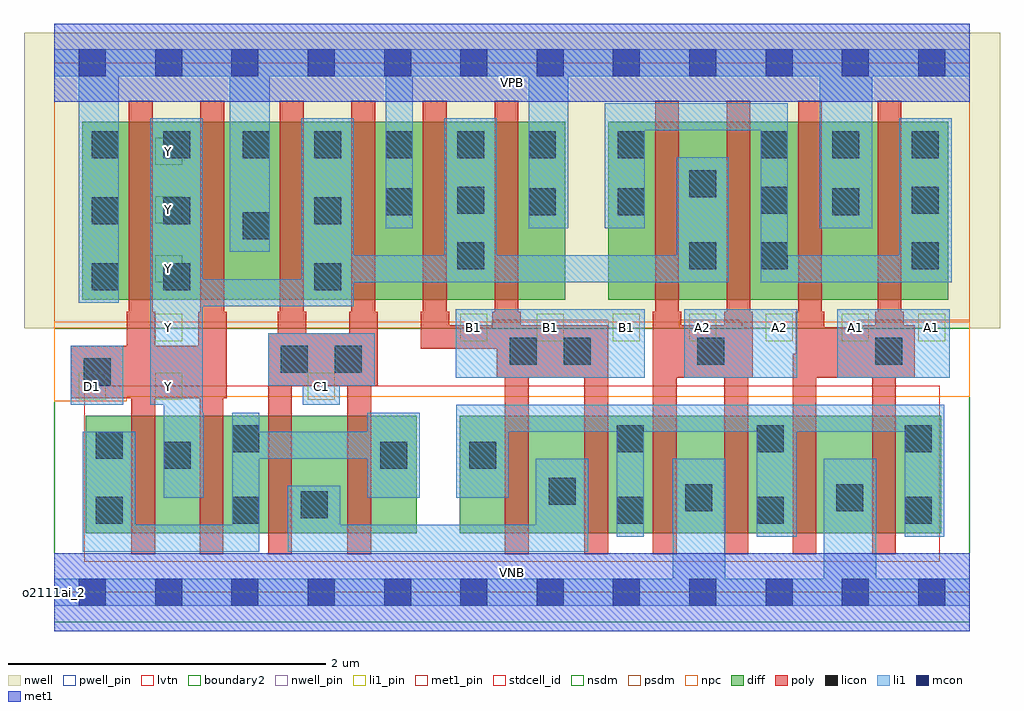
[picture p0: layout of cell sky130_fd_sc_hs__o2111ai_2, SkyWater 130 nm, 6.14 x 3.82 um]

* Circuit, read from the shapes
.subckt sky130_fd_sc_hs__o2111ai_2 A1 A2 B1 C1 D1 VGND VNB VPB VPWR Y
XM1 Y D1 n1 VNB sky130_fd_pr__nfet_01v8_lvt w=0.74 l=0.15 m=2
XM2 n2 C1 n1 VNB sky130_fd_pr__nfet_01v8_lvt w=0.74 l=0.15 m=2
XM3 n2 B1 n3 VNB sky130_fd_pr__nfet_01v8_lvt w=0.74 l=0.15 m=2
XM4 VGND A2 n3 VNB sky130_fd_pr__nfet_01v8_lvt w=0.74 l=0.15 m=2
XM5 VGND A1 n3 VNB sky130_fd_pr__nfet_01v8_lvt w=0.74 l=0.15 m=2
XM6 Y D1 VPWR VPB sky130_fd_pr__pfet_01v8 w=1.12 l=0.15 m=2
XM7 Y C1 VPWR VPB sky130_fd_pr__pfet_01v8 w=1.12 l=0.15 m=2
XM8 Y B1 VPWR VPB sky130_fd_pr__pfet_01v8 w=1.12 l=0.15 m=2
XM9 Y A2 n4 VPB sky130_fd_pr__pfet_01v8 w=1.12 l=0.15 m=2
XM10 VPWR A1 n4 VPB sky130_fd_pr__pfet_01v8 w=1.12 l=0.15 m=2
.ends

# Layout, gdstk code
import gdstk
lib = gdstk.Library(unit=1e-6, precision=1e-09)
def R(c, l, rs):  # rectangles x0, y0, x1, y1
    for r in rs: c.add(gdstk.rectangle(r[:2], r[2:], *l))
def A(c, l, x, y, w, h, nx, ny, dx, dy):  # array of equal rectangles
    R(c, l, [(x+i*dx, y+j*dy, x+i*dx+w, y+j*dy+h) for i in range(nx) for j in range(ny)])
def P(c, l, *ps):  # polygons
    for p in ps: c.add(gdstk.Polygon(p, *l))
nwell_pin = (64, 16)
nwell = (64, 20)
diff = (65, 20)
poly = (66, 20)
licon = (66, 44)
li1_pin = (67, 16)
li1 = (67, 20)
mcon = (67, 44)
met1_pin = (68, 16)
met1 = (68, 20)
stdcell_id = (81, 4)
nsdm = (93, 44)
psdm = (94, 20)
npc = (95, 20)
pwell_pin = (122, 16)
lvtn = (125, 44)
boundary2 = (236, 0)

sky130_fd_sc_hs__o2111ai = lib.new_cell('sky130_fd_sc_hs__o2111ai_2')
R(sky130_fd_sc_hs__o2111ai, nwell_pin, [(0,3.085,5.76,3.33)])
R(sky130_fd_sc_hs__o2111ai, nwell, [(-0.19,1.66,5.95,3.52)])
R(sky130_fd_sc_hs__o2111ai, diff, [(0.2,0.37,2.28,1.11), (2.55,0.37,5.58,1.11), (0.175,1.84,3.215,2.96), (3.485,1.84,5.625,2.96)])
P(sky130_fd_sc_hs__o2111ai, poly, [(5.415,1.68),(5.345,1.68),(5.345,1.765),(5.33,1.765),(5.33,3.09),(5.18,3.09),(5.18,1.765),(5.165,1.765),(5.165,1.68),(5.085,1.68),(5.085,1.665),(4.845,1.665),(4.845,1.765),(4.83,1.765),(4.83,3.09),(4.68,3.09),(4.68,1.765),(4.665,1.765),(4.665,1.5),(4.645,1.5),(4.645,0.24),(4.795,0.24),(4.795,1.35),(5.145,1.35),(5.145,0.24),(5.295,0.24),(5.295,1.35),(5.415,1.35)],
  [(4.395,1.765),(4.38,1.765),(4.38,3.09),(4.23,3.09),(4.23,1.765),(4.215,1.765),(4.215,1.68),(3.945,1.68),(3.945,1.765),(3.93,1.765),(3.93,3.09),(3.78,3.09),(3.78,1.765),(3.765,1.765),(3.765,0.24),(3.915,0.24),(3.915,1.35),(4.215,1.35),(4.215,0.24),(4.365,0.24),(4.365,1.35),(4.395,1.35)],
  [(3.485,1.68),(2.935,1.68),(2.935,1.765),(2.92,1.765),(2.92,3.09),(2.77,3.09),(2.77,1.765),(2.755,1.765),(2.755,1.68),(2.485,1.68),(2.485,1.765),(2.47,1.765),(2.47,3.09),(2.32,3.09),(2.32,1.765),(2.305,1.765),(2.305,1.53),(2.785,1.53),(2.785,1.35),(2.835,1.35),(2.835,0.24),(2.985,0.24),(2.985,1.35),(3.335,1.35),(3.335,0.24),(3.485,0.24)],
  [(2.035,1.765),(2.02,1.765),(2.02,3.09),(1.87,3.09),(1.87,1.765),(1.855,1.765),(1.855,1.63),(1.585,1.63),(1.585,1.765),(1.57,1.765),(1.57,3.09),(1.42,3.09),(1.42,1.765),(1.405,1.765),(1.405,1.63),(1.345,1.63),(1.345,0.24),(1.495,0.24),(1.495,1.3),(1.845,1.3),(1.845,0.24),(1.995,0.24),(1.995,1.3),(2.035,1.3)],
  [(1.085,1.765),(1.07,1.765),(1.07,3.09),(0.92,3.09),(0.92,1.765),(0.905,1.765),(0.905,1.55),(0.635,1.55),(0.635,1.765),(0.62,1.765),(0.62,3.09),(0.47,3.09),(0.47,1.765),(0.455,1.765),(0.455,1.55),(0.105,1.55),(0.105,1.22),(0.485,1.22),(0.485,0.24),(0.635,0.24),(0.635,1.22),(0.915,1.22),(0.915,0.24),(1.065,0.24),(1.065,1.22),(1.085,1.22)])
A(sky130_fd_sc_hs__o2111ai, licon, 0.235, 1.9, 0.17, 0.17, 1, 3, 0, 0.415)
A(sky130_fd_sc_hs__o2111ai, licon, 0.685, 1.9, 0.17, 0.17, 1, 3, 0, 0.415)
A(sky130_fd_sc_hs__o2111ai, licon, 4.445, 2.03, 0.17, 0.17, 1, 3, 0, 0.35)
A(sky130_fd_sc_hs__o2111ai, licon, 5.395, 2.03, 0.17, 0.17, 1, 3, 0, 0.35)
A(sky130_fd_sc_hs__o2111ai, licon, 1.185, 2.73, 0.17, 0.17, 5, 1, 0.45, 0)
R(sky130_fd_sc_hs__o2111ai, licon, [(0.26,0.43,0.43,0.6), (1.12,0.43,1.29,0.6), (3.54,0.43,3.71,0.6), (4.42,0.43,4.59,0.6), (5.35,0.43,5.52,0.6), (1.55,0.465,1.72,0.635), (3.97,0.51,4.14,0.68), (4.92,0.51,5.09,0.68), (3.11,0.55,3.28,0.72), (0.69,0.775,0.86,0.945), (2.05,0.775,2.22,0.945), (2.61,0.775,2.78,0.945), (0.26,0.84,0.43,1.01), (1.12,0.88,1.29,1.05), (3.54,0.88,3.71,1.05), (4.42,0.88,4.59,1.05), (5.35,0.88,5.52,1.05), (0.185,1.3,0.355,1.47), (1.425,1.38,1.595,1.55), (1.765,1.38,1.935,1.55), (2.865,1.43,3.035,1.6), (3.205,1.43,3.375,1.6), (4.045,1.43,4.215,1.6), (5.165,1.43,5.335,1.6), (1.635,1.9,1.805,2.07), (2.535,2.03,2.705,2.2), (3.995,2.03,4.165,2.2), (1.185,2.22,1.355,2.39), (1.635,2.315,1.805,2.485), (2.085,2.37,2.255,2.54), (2.985,2.37,3.155,2.54), (3.545,2.37,3.715,2.54), (4.895,2.37,5.065,2.54), (2.535,2.38,2.705,2.55), (3.995,2.485,4.165,2.655), (3.545,2.73,3.715,2.9), (4.895,2.73,5.065,2.9)])
A(sky130_fd_sc_hs__o2111ai, li1_pin, 0.635, 1.21, 0.17, 0.17, 1, 5, 0, 0.37)
A(sky130_fd_sc_hs__o2111ai, li1_pin, 2.555, 1.58, 0.17, 0.17, 7, 1, 0.48, 0)
R(sky130_fd_sc_hs__o2111ai, li1_pin, [(0.155,1.21,0.325,1.38), (1.595,1.21,1.765,1.38)])
R(sky130_fd_sc_hs__o2111ai, li1, [(0.105,1.18,0.435,1.55), (2.525,1.35,3.715,1.78), (3.965,1.35,4.675,1.78), (4.925,1.35,5.635,1.78)])
P(sky130_fd_sc_hs__o2111ai, li1, [(0,-0.085),(0,0.085),(3.89,0.085),(3.89,0.84),(4.22,0.84),(4.22,0.085),(4.84,0.085),(4.84,0.84),(5.17,0.84),(5.17,0.085),(5.76,0.085),(5.76,-0.085)],
  [(0,3.245),(0,3.415),(5.76,3.415),(5.76,3.245),(5.145,3.245),(5.145,2.29),(4.815,2.29),(4.815,3.245),(3.235,3.245),(3.235,2.29),(2.985,2.29),(2.985,3.245),(2.255,3.245),(2.255,2.29),(2.085,2.29),(2.085,3.245),(1.355,3.245),(1.355,2.14),(1.105,2.14),(1.105,3.245),(0.405,3.245),(0.405,1.82),(0.155,1.82),(0.155,3.245)],
  [(1.345,1.3),(1.345,1.63),(2.015,1.63),(2.015,1.3),(1.795,1.3),(1.795,1.18),(1.565,1.18),(1.565,1.3)],
  [(0.69,1.18),(0.605,1.18),(0.605,2.98),(0.935,2.98),(0.935,1.97),(1.555,1.97),(1.555,2.98),(1.885,2.98),(1.885,2.12),(2.455,2.12),(2.455,2.98),(2.785,2.98),(2.785,2.12),(3.915,2.12),(3.915,2.735),(4.245,2.735),(4.245,1.95),(1.885,1.95),(1.885,1.8),(0.935,1.8),(0.935,1.13),(0.94,1.13),(0.94,0.595),(0.69,0.595)],
  [(0.18,0.255),(0.18,1.01),(0.51,1.01),(0.51,0.425),(1.12,0.425),(1.12,1.13),(1.29,1.13),(1.29,1.01),(1.97,1.01),(1.97,1.13),(2.3,1.13),(2.3,0.595),(1.97,0.595),(1.97,0.84),(1.29,0.84),(1.29,0.255)],
  [(3.03,0.425),(3.03,0.84),(3.36,0.84),(3.36,0.255),(1.47,0.255),(1.47,0.67),(1.8,0.67),(1.8,0.425)],
  [(2.53,0.595),(2.53,1.18),(5.6,1.18),(5.6,0.35),(5.35,0.35),(5.35,1.01),(4.67,1.01),(4.67,0.35),(4.42,0.35),(4.42,1.01),(3.71,1.01),(3.71,0.35),(3.54,0.35),(3.54,1.01),(2.86,1.01),(2.86,0.595)],
  [(3.465,2.29),(3.465,3.075),(4.615,3.075),(4.615,2.12),(5.315,2.12),(5.315,2.98),(5.645,2.98),(5.645,1.95),(4.445,1.95),(4.445,2.905),(3.715,2.905),(3.715,2.29)])
A(sky130_fd_sc_hs__o2111ai, mcon, 0.155, -0.085, 0.17, 0.17, 12, 2, 0.48, 3.33)
R(sky130_fd_sc_hs__o2111ai, met1_pin, [(0,0,5.76,0.245), (0,3.085,5.76,3.33)])
R(sky130_fd_sc_hs__o2111ai, met1, [(0,-0.245,5.76,0.245), (0,3.085,5.76,3.575)])
R(sky130_fd_sc_hs__o2111ai, stdcell_id, [(0,0,5.76,3.33)])
R(sky130_fd_sc_hs__o2111ai, nsdm, [(0,-0.19,5.76,1.66)])
P(sky130_fd_sc_hs__o2111ai, psdm, [(5.76,3.52),(0,3.52),(0,1.66),(2.755,1.66),(2.755,1.71),(3.485,1.71),(3.485,1.66),(3.935,1.66),(3.935,1.71),(4.325,1.71),(4.325,1.66),(5.055,1.66),(5.055,1.71),(5.76,1.71)])
P(sky130_fd_sc_hs__o2111ai, npc, [(5.76,1.7),(0,1.7),(0,1.2),(0.455,1.2),(0.455,1.23),(5.76,1.23)])
R(sky130_fd_sc_hs__o2111ai, pwell_pin, [(0,0,5.76,0.245)])
R(sky130_fd_sc_hs__o2111ai, lvtn, [(0.19,0.19,5.57,1.3)])
R(sky130_fd_sc_hs__o2111ai, boundary2, [(0,0,5.76,3.33)])
sky130_fd_sc_hs__o2111ai.add(gdstk.Label('o2111ai_2', (0,0), layer=83, texttype=44))
sky130_fd_sc_hs__o2111ai.add(gdstk.Label('VNB', (2.88,0.123), layer=64, texttype=59))
sky130_fd_sc_hs__o2111ai.add(gdstk.Label('VPB', (2.88,3.208), layer=64, texttype=5))
sky130_fd_sc_hs__o2111ai.add(gdstk.Label('VPWR', (2.88,3.208), layer=68, texttype=5))
sky130_fd_sc_hs__o2111ai.add(gdstk.Label('VGND', (2.88,0.123), layer=68, texttype=5))
sky130_fd_sc_hs__o2111ai.add(gdstk.Label('D1', (0.24,1.295), layer=67, texttype=5))
sky130_fd_sc_hs__o2111ai.add(gdstk.Label('C1', (1.68,1.295), layer=67, texttype=5))
sky130_fd_sc_hs__o2111ai.add(gdstk.Label('B1', (2.64,1.665), layer=67, texttype=5))
sky130_fd_sc_hs__o2111ai.add(gdstk.Label('B1', (3.12,1.665), layer=67, texttype=5))
sky130_fd_sc_hs__o2111ai.add(gdstk.Label('B1', (3.6,1.665), layer=67, texttype=5))
sky130_fd_sc_hs__o2111ai.add(gdstk.Label('A2', (4.08,1.665), layer=67, texttype=5))
sky130_fd_sc_hs__o2111ai.add(gdstk.Label('A2', (4.56,1.665), layer=67, texttype=5))
sky130_fd_sc_hs__o2111ai.add(gdstk.Label('A1', (5.04,1.665), layer=67, texttype=5))
sky130_fd_sc_hs__o2111ai.add(gdstk.Label('A1', (5.52,1.665), layer=67, texttype=5))
sky130_fd_sc_hs__o2111ai.add(gdstk.Label('Y', (0.72,1.295), layer=67, texttype=5))
sky130_fd_sc_hs__o2111ai.add(gdstk.Label('Y', (0.72,1.665), layer=67, texttype=5))
sky130_fd_sc_hs__o2111ai.add(gdstk.Label('Y', (0.72,2.035), layer=67, texttype=5))
sky130_fd_sc_hs__o2111ai.add(gdstk.Label('Y', (0.72,2.405), layer=67, texttype=5))
sky130_fd_sc_hs__o2111ai.add(gdstk.Label('Y', (0.72,2.775), layer=67, texttype=5))

lib.write_gds('sky130_fd_sc_hs__o2111ai_2.gds')
